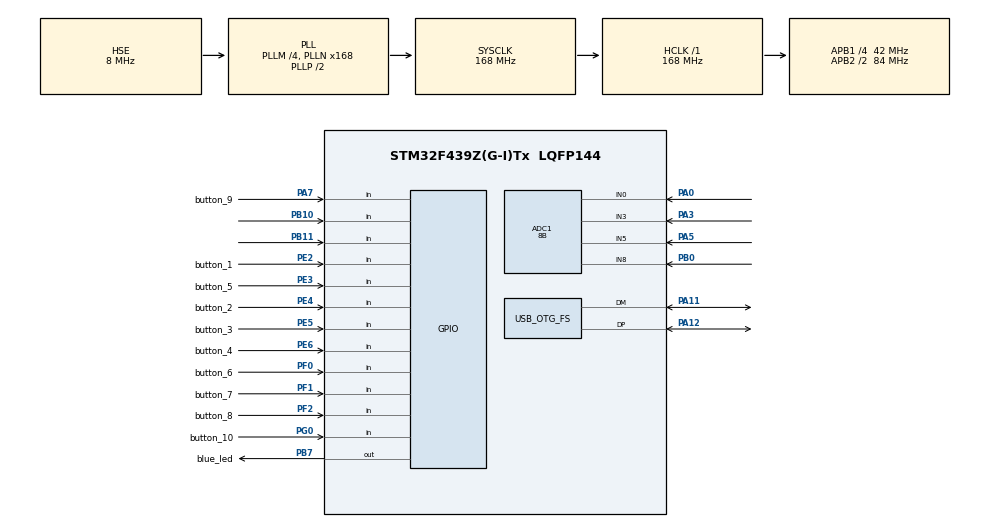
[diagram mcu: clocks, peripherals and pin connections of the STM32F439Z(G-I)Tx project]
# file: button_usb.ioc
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ADC1.Channel-0\#ChannelRegularConversion=ADC_CHANNEL_0
ADC1.Channel-2\#ChannelRegularConversion=ADC_CHANNEL_3
ADC1.Channel-3\#ChannelRegularConversion=ADC_CHANNEL_8
ADC1.Channel-4\#ChannelRegularConversion=ADC_CHANNEL_5
ADC1.ContinuousConvMode=DISABLE
ADC1.DMAContinuousRequests=ENABLE
ADC1.EOCSelection=ADC_EOC_SEQ_CONV
ADC1.ExternalTrigConv=ADC_EXTERNALTRIGCONV_T3_TRGO
ADC1.NbrOfConversion=4
ADC1.NbrOfConversionFlag=1
ADC1.Rank-0\#ChannelRegularConversion=1
ADC1.Rank-2\#ChannelRegularConversion=2
ADC1.Rank-3\#ChannelRegularConversion=3
ADC1.Rank-4\#ChannelRegularConversion=4
ADC1.Resolution=ADC_RESOLUTION_8B
ADC1.SamplingTime-0\#ChannelRegularConversion=ADC_SAMPLETIME_480CYCLES
ADC1.SamplingTime-2\#ChannelRegularConversion=ADC_SAMPLETIME_480CYCLES
ADC1.SamplingTime-3\#ChannelRegularConversion=ADC_SAMPLETIME_480CYCLES
ADC1.SamplingTime-4\#ChannelRegularConversion=ADC_SAMPLETIME_480CYCLES
ADC1.master=1
Dma.ADC1.0.Direction=DMA_PERIPH_TO_MEMORY
Dma.ADC1.0.FIFOMode=DMA_FIFOMODE_DISABLE
Dma.ADC1.0.Instance=DMA2_Stream0
Dma.ADC1.0.MemDataAlignment=DMA_MDATAALIGN_BYTE
Dma.ADC1.0.MemInc=DMA_MINC_ENABLE
Dma.ADC1.0.Mode=DMA_CIRCULAR
Dma.ADC1.0.PeriphDataAlignment=DMA_PDATAALIGN_BYTE
Dma.ADC1.0.PeriphInc=DMA_PINC_DISABLE
Dma.ADC1.0.Priority=DMA_PRIORITY_HIGH
Dma.Request0=ADC1
Mcu.Family=STM32F4
Mcu.Name=STM32F439Z(G-I)Tx
Mcu.Package=LQFP144
NVIC.ADC_IRQn=true\:0\:0\:false\:false\:true\:true\:true\:true
NVIC.DMA2_Stream0_IRQn=true\:0\:0\:false\:false\:true\:false\:true\:true
NVIC.OTG_FS_IRQn=true\:0\:0\:false\:false\:true\:true\:true\:true
NVIC.PriorityGroup=NVIC_PRIORITYGROUP_4
PA0/WKUP.Signal=ADCx_IN0
PA11.Mode=Device_Only
PA11.Signal=USB_OTG_FS_DM
PA12.Mode=Device_Only
PA12.Signal=USB_OTG_FS_DP
PA13.Mode=Serial_Wire
PA13.Signal=SYS_JTMS-SWDIO
PA14.Mode=Serial_Wire
PA14.Signal=SYS_JTCK-SWCLK
PA3.Signal=ADCx_IN3
PA5.Signal=ADCx_IN5
PA7.GPIO_Label=button_9
PA7.Signal=GPIO_Input
PB0.Signal=ADCx_IN8
PB10.GPIO_PuPd=GPIO_PULLUP
PB10.Signal=GPIO_Input
PB11.GPIO_PuPd=GPIO_PULLUP
PB11.Signal=GPIO_Input
PB7.GPIO_Label=blue_led
PB7.Signal=GPIO_Output
PC0.Signal=ADCx_IN10
PE2.GPIO_Label=button_1
PE2.Signal=GPIO_Input
PE3.GPIO_Label=button_5
PE3.Signal=GPIO_Input
PE4.GPIO_Label=button_2
PE4.Signal=GPIO_Input
PE5.GPIO_Label=button_3
PE5.Signal=GPIO_Input
PE6.GPIO_Label=button_4
PE6.Signal=GPIO_Input
PF0.GPIO_Label=button_6
PF0.Signal=GPIO_Input
PF1.GPIO_Label=button_7
PF1.Signal=GPIO_Input
PF2.GPIO_Label=button_8
PF2.Signal=GPIO_Input
PG0.GPIO_Label=button_10
PG0.Signal=GPIO_Input
PH0/OSC_IN.Mode=HSE-External-Clock-Source
PH0/OSC_IN.Signal=RCC_OSC_IN
PH1/OSC_OUT.Mode=HSE-External-Clock-Source
PH1/OSC_OUT.Signal=RCC_OSC_OUT
ProjectManager.HeapSize=0x200
ProjectManager.StackSize=0x400
ProjectManager.TargetToolchain=STM32CubeIDE
RCC.48MHZClocksFreq_Value=48000000
RCC.AHBFreq_Value=168000000
RCC.APB1CLKDivider=RCC_HCLK_DIV4
RCC.APB1Freq_Value=42000000
RCC.APB1TimFreq_Value=84000000
RCC.APB2CLKDivider=RCC_HCLK_DIV2
RCC.APB2Freq_Value=84000000
RCC.APB2TimFreq_Value=168000000
RCC.CortexFreq_Value=168000000
RCC.HCLKFreq_Value=168000000
RCC.HSE_VALUE=8000000
RCC.HSI_VALUE=16000000
RCC.LSE_VALUE=32768
RCC.PLLM=4
RCC.PLLMUL=RCC_PLL_MUL9
RCC.PLLN=168
RCC.PLLQ=7
RCC.PRESCALERUSB=RCC_USBCLKSOURCE_PLL_DIV1_5
RCC.SYSCLKFreq_VALUE=168000000
RCC.SYSCLKSource=RCC_SYSCLKSOURCE_PLLCLK
RCC.SYSCLKSourceVirtual=RCC_SYSCLKSOURCE_PLLCLK
RCC.USBFreq_Value=48000000
RCC.VCOOutputFreq_Value=336000000
SH.ADCx_IN0.0=ADC1_IN0,IN0
SH.ADCx_IN10.0=ADC1_IN10
SH.ADCx_IN3.0=ADC1_IN3,IN3
SH.ADCx_IN5.0=ADC1_IN5,IN5
SH.ADCx_IN8.0=ADC1_IN8,IN8
TIM3.Period=100-1
TIM3.Prescaler=8400-1
TIM3.TIM_MasterOutputTrigger=TIM_TRGO_UPDATE
USB_DEVICE.CLASS_NAME_FS=CUSTOM_HID
USB_DEVICE.CUSTOM_HID_FS_BINTERVAL=0xA
USB_DEVICE.VirtualMode-CUSTOM_HID_FS=CustomHid
USB_DEVICE.VirtualModeFS=Custom_Hid_FS
USB_OTG_FS.VirtualMode=Device_Only
VP_TIM3_VS_ClockSourceINT.Mode=Internal
VP_USB_DEVICE_VS_USB_DEVICE_CUSTOM_HID_FS.Mode=CUSTOM_HID_FS
board=NUCLEO-F439ZI

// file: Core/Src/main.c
/* USER CODE BEGIN Header */
/**
  ******************************************************************************
  * @file           : main.c
  * @brief          : Main program body
  ******************************************************************************
  * @attention
  *
  * Copyright (c) 2025 STMicroelectronics.
  * All rights reserved.
  *
  * This software is licensed under terms that can be found in the LICENSE file
  * in the root directory of this software component.
  * If no LICENSE file comes with this software, it is provided AS-IS.
  *
  ******************************************************************************
  */
/* USER CODE END Header */
#include "main.h"
#include "usb_device.h"

/* USER CODE BEGIN Includes */
#include "game_controller.h"
#define NUM_ADC_CHANNEL 4
/* USER CODE END Includes */

/* USER CODE BEGIN PTD */
// typedef struct {
//   uint16_t buttons;
//   uint8_t left_x;
//   uint8_t left_y;
//   uint8_t right_x;
//   uint8_t right_y;
// } game_controller_report;
/* USER CODE END PTD */

ADC_HandleTypeDef hadc1;
DMA_HandleTypeDef hdma_adc1;

TIM_HandleTypeDef htim3;

/* USER CODE BEGIN PV */
volatile uint8_t adcBuf[NUM_ADC_CHANNEL] = {0};
volatile uint8_t btn1;
volatile uint8_t btn2;
volatile uint8_t btn3;
volatile uint8_t btn4;
volatile uint8_t btn5;
volatile uint8_t btn6;
volatile uint8_t btn7;
volatile uint8_t btn8;
volatile uint8_t btn9;
volatile uint8_t btn10;
// game_controller_report game_controller;
extern USBD_HandleTypeDef hUsbDeviceFS;
/* USER CODE END PV */

void SystemClock_Config(void);
static void MX_GPIO_Init(void);
static void MX_DMA_Init(void);
static void MX_ADC1_Init(void);
static void MX_TIM3_Init(void);
/* USER CODE BEGIN PFP */
void HAL_ADC_ConvCpltCallback(ADC_HandleTypeDef* hadc) {
  game_controller.left_x = adcBuf[0];
  game_controller.left_y = adcBuf[1];
  game_controller.right_x = adcBuf[2];
  game_controller.right_y = adcBuf[3];
}
/* USER CODE END PFP */

int main(void)
{

  /* MCU Configuration--------------------------------------------------------*/

  /* Reset of all peripherals, Initializes the Flash interface and the Systick. */
  HAL_Init();

  /* Configure the system clock */
  SystemClock_Config();

  /* Initialize all configured peripherals */
  MX_GPIO_Init();
  MX_DMA_Init();
  MX_ADC1_Init();
  MX_TIM3_Init();
  MX_USB_DEVICE_Init();
  /* USER CODE BEGIN 2 */
  HAL_ADC_Start_DMA(&hadc1, (uint32_t*)adcBuf, NUM_ADC_CHANNEL);
  HAL_TIM_Base_Start(&htim3);
  /* USER CODE END 2 */

  /* Infinite loop */
  /* USER CODE BEGIN WHILE */
  while (1)
  {
    btn1 = HAL_GPIO_ReadPin(button_1_GPIO_Port, button_1_Pin);
    btn2 = HAL_GPIO_ReadPin(button_2_GPIO_Port, button_2_Pin);
    btn3 = HAL_GPIO_ReadPin(button_3_GPIO_Port, button_3_Pin);
    btn4 = HAL_GPIO_ReadPin(button_4_GPIO_Port, button_4_Pin);
    btn5 = HAL_GPIO_ReadPin(button_5_GPIO_Port, button_5_Pin);
    btn6 = HAL_GPIO_ReadPin(button_6_GPIO_Port, button_6_Pin);
    btn7 = HAL_GPIO_ReadPin(button_7_GPIO_Port, button_7_Pin);
    btn8 = HAL_GPIO_ReadPin(button_8_GPIO_Port, button_8_Pin);
    btn9 = HAL_GPIO_ReadPin(button_9_GPIO_Port, button_9_Pin);
    btn10 = HAL_GPIO_ReadPin(button_10_GPIO_Port, button_10_Pin);

    game_controller.buttons = 0;
    game_controller.buttons |= btn1 << 0;
    game_controller.buttons |= btn2 << 1;
    game_controller.buttons |= btn3 << 2;
    game_controller.buttons |= btn4 << 3;
    game_controller.buttons |= btn5 << 4;
    game_controller.buttons |= btn6 << 5;
    game_controller.buttons |= btn7 << 6;
    game_controller.buttons |= btn8 << 7;
    game_controller.buttons |= btn9 << 8;
    game_controller.buttons |= btn10 << 9;

    USBD_CUSTOM_HID_SendReport(&hUsbDeviceFS, (uint8_t *)&game_controller, sizeof(game_controller));
    /* USER CODE END WHILE */

    /* USER CODE BEGIN 3 */
    HAL_Delay(10);
  }
  /* USER CODE END 3 */
}

void SystemClock_Config(void)
{
  RCC_OscInitTypeDef RCC_OscInitStruct = {0};
  RCC_ClkInitTypeDef RCC_ClkInitStruct = {0};

  /** Configure the main internal regulator output voltage
  */
  __HAL_RCC_PWR_CLK_ENABLE();
  __HAL_PWR_VOLTAGESCALING_CONFIG(PWR_REGULATOR_VOLTAGE_SCALE1);

  /** Initializes the RCC Oscillators according to the specified parameters
  * in the RCC_OscInitTypeDef structure.
  */
  RCC_OscInitStruct.OscillatorType = RCC_OSCILLATORTYPE_HSE;
  RCC_OscInitStruct.HSEState = RCC_HSE_BYPASS;
  RCC_OscInitStruct.PLL.PLLState = RCC_PLL_ON;
  RCC_OscInitStruct.PLL.PLLSource = RCC_PLLSOURCE_HSE;
  RCC_OscInitStruct.PLL.PLLM = 4;
  RCC_OscInitStruct.PLL.PLLN = 168;
  RCC_OscInitStruct.PLL.PLLP = RCC_PLLP_DIV2;
  RCC_OscInitStruct.PLL.PLLQ = 7;
  if (HAL_RCC_OscConfig(&RCC_OscInitStruct) != HAL_OK)
  {
    Error_Handler();
  }

  /** Initializes the CPU, AHB and APB buses clocks
  */
  RCC_ClkInitStruct.ClockType = RCC_CLOCKTYPE_HCLK|RCC_CLOCKTYPE_SYSCLK
                              |RCC_CLOCKTYPE_PCLK1|RCC_CLOCKTYPE_PCLK2;
  RCC_ClkInitStruct.SYSCLKSource = RCC_SYSCLKSOURCE_PLLCLK;
  RCC_ClkInitStruct.AHBCLKDivider = RCC_SYSCLK_DIV1;
  RCC_ClkInitStruct.APB1CLKDivider = RCC_HCLK_DIV4;
  RCC_ClkInitStruct.APB2CLKDivider = RCC_HCLK_DIV2;

  if (HAL_RCC_ClockConfig(&RCC_ClkInitStruct, FLASH_LATENCY_5) != HAL_OK)
  {
    Error_Handler();
  }
}

static void MX_ADC1_Init(void)
{

  ADC_ChannelConfTypeDef sConfig = {0};

  /** Configure the global features of the ADC (Clock, Resolution, Data Alignment and number of conversion)
  */
  hadc1.Instance = ADC1;
  hadc1.Init.ClockPrescaler = ADC_CLOCK_SYNC_PCLK_DIV4;
  hadc1.Init.Resolution = ADC_RESOLUTION_8B;
  hadc1.Init.ScanConvMode = ENABLE;
  hadc1.Init.ContinuousConvMode = DISABLE;
  hadc1.Init.DiscontinuousConvMode = DISABLE;
  hadc1.Init.ExternalTrigConvEdge = ADC_EXTERNALTRIGCONVEDGE_RISING;
  hadc1.Init.ExternalTrigConv = ADC_EXTERNALTRIGCONV_T3_TRGO;
  hadc1.Init.DataAlign = ADC_DATAALIGN_RIGHT;
  hadc1.Init.NbrOfConversion = 4;
  hadc1.Init.DMAContinuousRequests = ENABLE;
  hadc1.Init.EOCSelection = ADC_EOC_SEQ_CONV;
  if (HAL_ADC_Init(&hadc1) != HAL_OK)
  {
    Error_Handler();
  }

  /** Configure for the selected ADC regular channel its corresponding rank in the sequencer and its sample time.
  */
  sConfig.Channel = ADC_CHANNEL_0;
  sConfig.Rank = 1;
  sConfig.SamplingTime = ADC_SAMPLETIME_480CYCLES;
  if (HAL_ADC_ConfigChannel(&hadc1, &sConfig) != HAL_OK)
  {
    Error_Handler();
  }

  /** Configure for the selected ADC regular channel its corresponding rank in the sequencer and its sample time.
  */
  sConfig.Channel = ADC_CHANNEL_3;
  sConfig.Rank = 2;
  if (HAL_ADC_ConfigChannel(&hadc1, &sConfig) != HAL_OK)
  {
    Error_Handler();
  }

  /** Configure for the selected ADC regular channel its corresponding rank in the sequencer and its sample time.
  */
  sConfig.Channel = ADC_CHANNEL_8;
  sConfig.Rank = 3;
  if (HAL_ADC_ConfigChannel(&hadc1, &sConfig) != HAL_OK)
  {
    Error_Handler();
  }

  /** Configure for the selected ADC regular channel its corresponding rank in the sequencer and its sample time.
  */
  sConfig.Channel = ADC_CHANNEL_5;
  sConfig.Rank = 4;
  if (HAL_ADC_ConfigChannel(&hadc1, &sConfig) != HAL_OK)
  {
    Error_Handler();
  }

}

static void MX_TIM3_Init(void)
{

  TIM_ClockConfigTypeDef sClockSourceConfig = {0};
  TIM_MasterConfigTypeDef sMasterConfig = {0};

  htim3.Instance = TIM3;
  htim3.Init.Prescaler = 8400-1;
  htim3.Init.CounterMode = TIM_COUNTERMODE_UP;
  htim3.Init.Period = 100-1;
  htim3.Init.ClockDivision = TIM_CLOCKDIVISION_DIV1;
  htim3.Init.AutoReloadPreload = TIM_AUTORELOAD_PRELOAD_DISABLE;
  if (HAL_TIM_Base_Init(&htim3) != HAL_OK)
  {
    Error_Handler();
  }
  sClockSourceConfig.ClockSource = TIM_CLOCKSOURCE_INTERNAL;
  if (HAL_TIM_ConfigClockSource(&htim3, &sClockSourceConfig) != HAL_OK)
  {
    Error_Handler();
  }
  sMasterConfig.MasterOutputTrigger = TIM_TRGO_UPDATE;
  sMasterConfig.MasterSlaveMode = TIM_MASTERSLAVEMODE_DISABLE;
  if (HAL_TIMEx_MasterConfigSynchronization(&htim3, &sMasterConfig) != HAL_OK)
  {
    Error_Handler();
  }

}

static void MX_DMA_Init(void)
{

  /* DMA controller clock enable */
  __HAL_RCC_DMA2_CLK_ENABLE();

  /* DMA interrupt init */
  /* DMA2_Stream0_IRQn interrupt configuration */
  HAL_NVIC_SetPriority(DMA2_Stream0_IRQn, 0, 0);
  HAL_NVIC_EnableIRQ(DMA2_Stream0_IRQn);

}

static void MX_GPIO_Init(void)
{
  GPIO_InitTypeDef GPIO_InitStruct = {0};

  /* GPIO Ports Clock Enable */
  __HAL_RCC_GPIOE_CLK_ENABLE();
  __HAL_RCC_GPIOF_CLK_ENABLE();
  __HAL_RCC_GPIOH_CLK_ENABLE();
  __HAL_RCC_GPIOC_CLK_ENABLE();
  __HAL_RCC_GPIOA_CLK_ENABLE();
  __HAL_RCC_GPIOB_CLK_ENABLE();
  __HAL_RCC_GPIOG_CLK_ENABLE();

  /*Configure GPIO pin Output Level */
  HAL_GPIO_WritePin(blue_led_GPIO_Port, blue_led_Pin, GPIO_PIN_RESET);

  /*Configure GPIO pins : button_1_Pin button_5_Pin button_2_Pin button_3_Pin
                           button_4_Pin */
  GPIO_InitStruct.Pin = button_1_Pin|button_5_Pin|button_2_Pin|button_3_Pin
                          |button_4_Pin;
  GPIO_InitStruct.Mode = GPIO_MODE_INPUT;
  GPIO_InitStruct.Pull = GPIO_NOPULL;
  HAL_GPIO_Init(GPIOE, &GPIO_InitStruct);

  /*Configure GPIO pins : button_6_Pin button_7_Pin button_8_Pin */
  GPIO_InitStruct.Pin = button_6_Pin|button_7_Pin|button_8_Pin;
  GPIO_InitStruct.Mode = GPIO_MODE_INPUT;
  GPIO_InitStruct.Pull = GPIO_NOPULL;
  HAL_GPIO_Init(GPIOF, &GPIO_InitStruct);

  /*Configure GPIO pin : button_9_Pin */
  GPIO_InitStruct.Pin = button_9_Pin;
  GPIO_InitStruct.Mode = GPIO_MODE_INPUT;
  GPIO_InitStruct.Pull = GPIO_NOPULL;
  HAL_GPIO_Init(button_9_GPIO_Port, &GPIO_InitStruct);

  /*Configure GPIO pin : button_10_Pin */
  GPIO_InitStruct.Pin = button_10_Pin;
  GPIO_InitStruct.Mode = GPIO_MODE_INPUT;
  GPIO_InitStruct.Pull = GPIO_NOPULL;
  HAL_GPIO_Init(button_10_GPIO_Port, &GPIO_InitStruct);

  /*Configure GPIO pins : PB10 PB11 */
  GPIO_InitStruct.Pin = GPIO_PIN_10|GPIO_PIN_11;
  GPIO_InitStruct.Mode = GPIO_MODE_INPUT;
  GPIO_InitStruct.Pull = GPIO_PULLUP;
  HAL_GPIO_Init(GPIOB, &GPIO_InitStruct);

  /*Configure GPIO pin : blue_led_Pin */
  GPIO_InitStruct.Pin = blue_led_Pin;
  GPIO_InitStruct.Mode = GPIO_MODE_OUTPUT_PP;
  GPIO_InitStruct.Pull = GPIO_NOPULL;
  GPIO_InitStruct.Speed = GPIO_SPEED_FREQ_LOW;
  HAL_GPIO_Init(blue_led_GPIO_Port, &GPIO_InitStruct);

}

void Error_Handler(void)
{
  __disable_irq();
  while (1)
  {
  }
}
